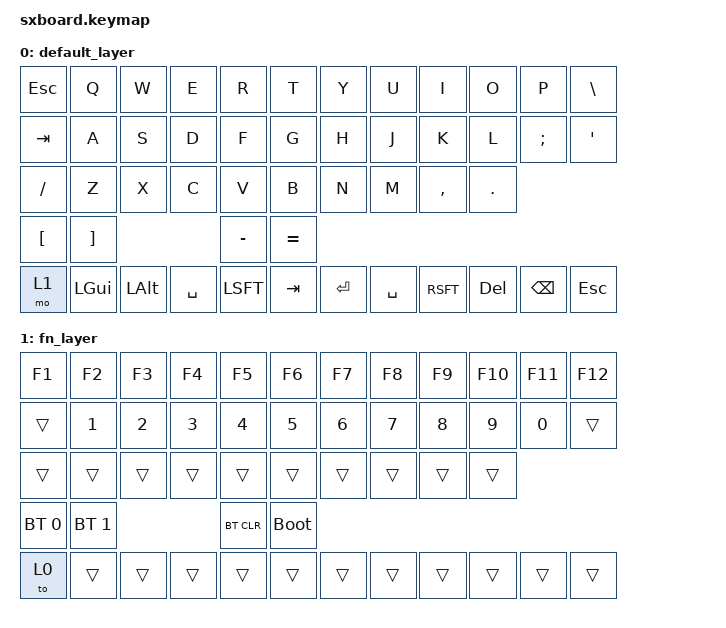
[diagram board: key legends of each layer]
#include <behaviors.dtsi>
#include <dt-bindings/zmk/keys.h>
#include <dt-bindings/zmk/bt.h>

/ {
    keymap {
        compatible = "zmk,keymap";

        default_layer {
            bindings = <
                // 第一行: esc, q, w, e, r, t, y, u, i, o, p, backslash
                &kp ESC  &kp Q  &kp W  &kp E  &kp R  &kp T  &kp Y  &kp U  &kp I  &kp O  &kp P  &kp BSLH
                
                // 第二行: tab, a, s, d, f, g, h, j, k, l, semicolon, quote
                &kp TAB  &kp A  &kp S  &kp D  &kp F  &kp G  &kp H  &kp J  &kp K  &kp L  &kp SEMI  &kp SQT
                
                // 第三行: slash, z, x, c, v, b, n, m, comma, dot
                &kp FSLH  &kp Z  &kp X  &kp C  &kp V  &kp B  &kp N  &kp M  &kp COMMA  &kp DOT
                
                // 第四行: lbracket, rbracket, minus, equal
                &kp LBKT  &kp RBKT  &kp MINUS  &kp EQUAL
                
                // 第五行: fn, win, lalt, space, lshift, tab, enter, space, rshift, delete, backspace, esc
                &mo 1  &kp LGUI  &kp LALT  &kp SPACE  &kp LSFT  &kp TAB  &kp ENTER  &kp SPACE  &kp RSFT  &kp DEL  &kp BSPC  &kp ESC
            >;
        };

        fn_layer {
            bindings = <
                // 第一行: 功能键
                &kp F1  &kp F2  &kp F3  &kp F4  &kp F5  &kp F6  &kp F7  &kp F8  &kp F9  &kp F10  &kp F11 &kp F12
                
                // 第二行: 功能键
                &trans  &kp N1  &kp N2  &kp N3  &kp N4  &kp N5  &kp N6  &kp N7  &kp N8  &kp N9  &kp N0  &trans
                
                // 第三行: 媒体控制
                &trans  &trans  &trans  &trans  &trans  &trans  &trans  &trans  &trans  &trans
                
                // 第四行: 蓝牙控制 (原bt_layer功能已整合至此)
                &bt BT_SEL 0  &bt BT_SEL 1  &bt BT_CLR  &bootloader
                
                // 第五行: 返回默认层，其他功能键
                &to 0  &trans  &trans  &trans  &trans  &trans  &trans  &trans  &trans  &trans  &trans  &trans
            >;
        };
    };
};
